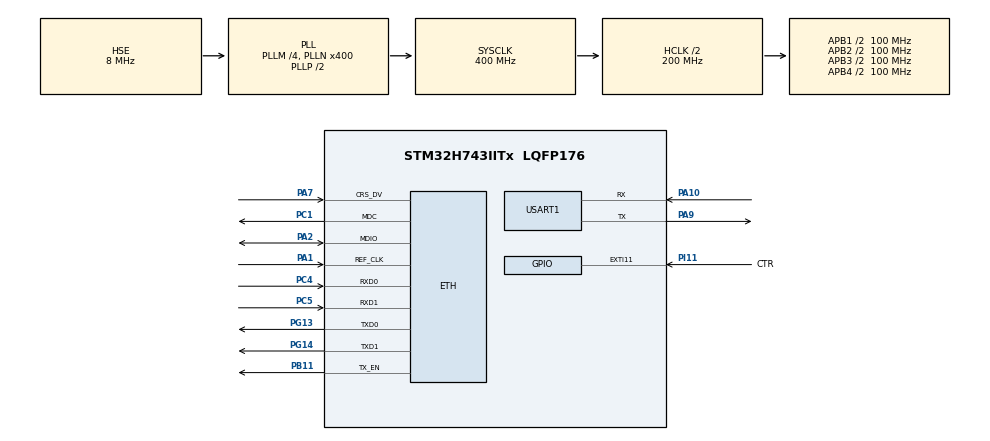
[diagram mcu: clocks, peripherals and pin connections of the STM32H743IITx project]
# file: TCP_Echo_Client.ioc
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CORTEX_M7.CPU_DCache=Enabled
CORTEX_M7.CPU_ICache=Enabled
ETH.MediaInterface=HAL_ETH_RMII_MODE
LWIP.BSP.number=1
LWIP.GATEWAY_ADDRESS=192.168.000.001
LWIP.IP_ADDRESS=192.168.000.010
LWIP.LWIP_DHCP=1
LWIP.LWIP_NETIF_LINK_CALLBACK=1
LWIP.LWIP_NETIF_STATUS_CALLBACK=1
LWIP.LWIP_STATS=0
LWIP.NETMASK_ADDRESS=255.255.255.000
LWIP.TCP_QUEUE_OOSEQ=0
LWIP.Version=v2.0.3_Cube
LWIP0.BSP.STBoard=false
LWIP0.BSP.api=BSP_COMPONENT_DRIVER
LWIP0.BSP.component=LAN8742
LWIP0.BSP.i2caddr=0
LWIP0.BSP.instance=LAN8742
LWIP0.BSP.name=Driver_PHY
LWIP0.BSP.solution=LAN8742
Mcu.Family=STM32H7
Mcu.Name=STM32H743IITx
Mcu.Package=LQFP176
Mcu.UserConstants=DEST_IP_ADDR0,192;DEST_IP_ADDR1,168;DEST_IP_ADDR2,1;DEST_IP_ADDR3,206;DEST_PORT,7
NVIC.ETH_IRQn=true\:0\:0\:false\:false\:true\:true
NVIC.EXTI15_10_IRQn=true\:0\:0\:false\:false\:true\:true
NVIC.PriorityGroup=NVIC_PRIORITYGROUP_4
PA1.GPIO_Speed=GPIO_SPEED_FREQ_VERY_HIGH
PA1.Mode=RMII
PA1.Signal=ETH_REF_CLK
PA10.Mode=Asynchronous
PA10.Signal=USART1_RX
PA13\ (JTMS/SWDIO).Mode=JTAG_5_pins
PA13\ (JTMS/SWDIO).Signal=SYS_JTMS-SWDIO
PA14\ (JTCK/SWCLK).Mode=JTAG_5_pins
PA14\ (JTCK/SWCLK).Signal=SYS_JTCK-SWCLK
PA15\ (JTDI).Mode=JTAG_5_pins
PA15\ (JTDI).Signal=SYS_JTDI
PA2.GPIO_Speed=GPIO_SPEED_FREQ_VERY_HIGH
PA2.Mode=RMII
PA2.Signal=ETH_MDIO
PA7.GPIO_Speed=GPIO_SPEED_FREQ_VERY_HIGH
PA7.Mode=RMII
PA7.Signal=ETH_CRS_DV
PA9.Mode=Asynchronous
PA9.Signal=USART1_TX
PB11.GPIO_Speed=GPIO_SPEED_FREQ_VERY_HIGH
PB11.Mode=RMII
PB11.Signal=ETH_TX_EN
PB3\ (JTDO/TRACESWO).Mode=JTAG_5_pins
PB3\ (JTDO/TRACESWO).Signal=SYS_JTDO-SWO
PB4\ (NJTRST).Mode=JTAG_5_pins
PB4\ (NJTRST).Signal=SYS_JTRST
PC1.Mode=RMII
PC1.Signal=ETH_MDC
PC4.GPIO_Speed=GPIO_SPEED_FREQ_VERY_HIGH
PC4.Mode=RMII
PC4.Signal=ETH_RXD0
PC5.GPIO_Speed=GPIO_SPEED_FREQ_VERY_HIGH
PC5.Mode=RMII
PC5.Signal=ETH_RXD1
PG13.GPIO_Speed=GPIO_SPEED_FREQ_VERY_HIGH
PG13.Mode=RMII
PG13.Signal=ETH_TXD0
PG14.GPIO_Speed=GPIO_SPEED_FREQ_VERY_HIGH
PG14.Mode=RMII
PG14.Signal=ETH_TXD1
PH0-OSC_IN\ (PH0).Mode=HSE-External-Oscillator
PH0-OSC_IN\ (PH0).Signal=RCC_OSC_IN
PH1-OSC_OUT\ (PH1).Mode=HSE-External-Oscillator
PH1-OSC_OUT\ (PH1).Signal=RCC_OSC_OUT
PI11.GPIO_Label=CTR
PI11.GPIO_ModeDefaultEXTI=GPIO_MODE_IT_FALLING
PI11.Signal=GPXTI11
ProjectManager.HeapSize=0x200
ProjectManager.StackSize=0x400
ProjectManager.TargetToolchain=MDK-ARM V5
RCC.ADCFreq_Value=16125000
RCC.APB1Freq_Value=100000000
RCC.APB2Freq_Value=100000000
RCC.APB3Freq_Value=100000000
RCC.APB4Freq_Value=100000000
RCC.CortexFreq_Value=400000000
RCC.D1PPRE=RCC_APB3_DIV2
RCC.D2PPRE1=RCC_APB1_DIV2
RCC.D2PPRE2=RCC_APB2_DIV2
RCC.D3PPRE=RCC_APB4_DIV2
RCC.DIVM1=4
RCC.DIVN1=400
RCC.HCLKFreq_Value=200000000
RCC.HPRE=RCC_HCLK_DIV2
RCC.HSE_VALUE=8000000
RCC.PLLSourceVirtual=RCC_PLLSOURCE_HSE
RCC.SYSCLKFreq_VALUE=400000000
RCC.SYSCLKSource=RCC_SYSCLKSOURCE_PLLCLK
RCC.USBFreq_Value=400000000
USART1.VirtualMode-Asynchronous=VM_ASYNC
VP_LWIP_VS_Enabled.Mode=Enabled
board=custom

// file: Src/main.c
/* USER CODE BEGIN Header */
/**
  ******************************************************************************
  * @file           : main.c
  * @brief          : Main program body
  ******************************************************************************
  * This notice applies to any and all portions of this file
  * that are not between comment pairs USER CODE BEGIN and
  * USER CODE END. Other portions of this file, whether
  * inserted by the user or by software development tools
  * are owned by their respective copyright owners.
  *
  * Copyright (c) 2019 STMicroelectronics International N.V.
  * All rights reserved.
  *
  * Redistribution and use in source and binary forms, with or without
  * modification, are permitted, provided that the following conditions are met:
  *
  * 1. Redistribution of source code must retain the above copyright notice,
  *    this list of conditions and the following disclaimer.
  * 2. Redistributions in binary form must reproduce the above copyright notice,
  *    this list of conditions and the following disclaimer in the documentation
  *    and/or other materials provided with the distribution.
  * 3. Neither the name of STMicroelectronics nor the names of other
  *    contributors to this software may be used to endorse or promote products
  *    derived from this software without specific written permission.
  * 4. This software, including modifications and/or derivative works of this
  *    software, must execute solely and exclusively on microcontroller or
  *    microprocessor devices manufactured by or for STMicroelectronics.
  * 5. Redistribution and use of this software other than as permitted under
  *    this license is void and will automatically terminate your rights under
  *    this license.
  *
  * THIS SOFTWARE IS PROVIDED BY STMICROELECTRONICS AND CONTRIBUTORS "AS IS"
  * AND ANY EXPRESS, IMPLIED OR STATUTORY WARRANTIES, INCLUDING, BUT NOT
  * LIMITED TO, THE IMPLIED WARRANTIES OF MERCHANTABILITY, FITNESS FOR A
  * PARTICULAR PURPOSE AND NON-INFRINGEMENT OF THIRD PARTY INTELLECTUAL PROPERTY
  * RIGHTS ARE DISCLAIMED TO THE FULLEST EXTENT PERMITTED BY LAW. IN NO EVENT
  * SHALL STMICROELECTRONICS OR CONTRIBUTORS BE LIABLE FOR ANY DIRECT, INDIRECT,
  * INCIDENTAL, SPECIAL, EXEMPLARY, OR CONSEQUENTIAL DAMAGES (INCLUDING, BUT NOT
  * LIMITED TO, PROCUREMENT OF SUBSTITUTE GOODS OR SERVICES; LOSS OF USE, DATA,
  * OR PROFITS; OR BUSINESS INTERRUPTION) HOWEVER CAUSED AND ON ANY THEORY OF
  * LIABILITY, WHETHER IN CONTRACT, STRICT LIABILITY, OR TORT (INCLUDING
  * NEGLIGENCE OR OTHERWISE) ARISING IN ANY WAY OUT OF THE USE OF THIS SOFTWARE,
  * EVEN IF ADVISED OF THE POSSIBILITY OF SUCH DAMAGE.
  *
  ******************************************************************************
  */
/* USER CODE END Header */

#include "main.h"
#include "lwip.h"
#include "usart.h"
#include "gpio.h"

/* USER CODE BEGIN Includes */
#include "tcp_echoserver.h"

/* USER CODE END Includes */

void SystemClock_Config(void);

/* USER CODE BEGIN 0 */

static void MPU_Config(void)
{
  MPU_Region_InitTypeDef MPU_InitStruct;

  /* Disable the MPU */
  HAL_MPU_Disable();

  /* Configure the MPU attributes as Device not cacheable
     for ETH DMA descriptors */
  MPU_InitStruct.Enable = MPU_REGION_ENABLE;
  MPU_InitStruct.BaseAddress = 0x30040000;
  MPU_InitStruct.Size = MPU_REGION_SIZE_256B;
  MPU_InitStruct.AccessPermission = MPU_REGION_FULL_ACCESS;
  MPU_InitStruct.IsBufferable = MPU_ACCESS_BUFFERABLE;
  MPU_InitStruct.IsCacheable = MPU_ACCESS_NOT_CACHEABLE;
  MPU_InitStruct.IsShareable = MPU_ACCESS_NOT_SHAREABLE;
  MPU_InitStruct.Number = MPU_REGION_NUMBER0;
  MPU_InitStruct.TypeExtField = MPU_TEX_LEVEL0;
  MPU_InitStruct.SubRegionDisable = 0x00;
  MPU_InitStruct.DisableExec = MPU_INSTRUCTION_ACCESS_ENABLE;

  HAL_MPU_ConfigRegion(&MPU_InitStruct);

  /* Configure the MPU attributes as Cacheable write through
     for LwIP RAM heap which contains the Tx buffers */
  MPU_InitStruct.Enable = MPU_REGION_ENABLE;
  MPU_InitStruct.BaseAddress = 0x30044000;
  MPU_InitStruct.Size = MPU_REGION_SIZE_16KB;
  MPU_InitStruct.AccessPermission = MPU_REGION_FULL_ACCESS;
  MPU_InitStruct.IsBufferable = MPU_ACCESS_NOT_BUFFERABLE;
  MPU_InitStruct.IsCacheable = MPU_ACCESS_CACHEABLE;
  MPU_InitStruct.IsShareable = MPU_ACCESS_NOT_SHAREABLE;
  MPU_InitStruct.Number = MPU_REGION_NUMBER1;
  MPU_InitStruct.TypeExtField = MPU_TEX_LEVEL0;
  MPU_InitStruct.SubRegionDisable = 0x00;
  MPU_InitStruct.DisableExec = MPU_INSTRUCTION_ACCESS_ENABLE;

  HAL_MPU_ConfigRegion(&MPU_InitStruct);

  /* Enable the MPU */
  HAL_MPU_Enable(MPU_PRIVILEGED_DEFAULT);
}
/* USER CODE END 0 */

int main(void)
{
  /* USER CODE BEGIN 1 */
	MPU_Config();

  /* USER CODE END 1 */

  /* Enable I-Cache---------------------------------------------------------*/
  SCB_EnableICache();

  /* Enable D-Cache---------------------------------------------------------*/
  SCB_EnableDCache();

  /* MCU Configuration--------------------------------------------------------*/

  /* Reset of all peripherals, Initializes the Flash interface and the Systick. */
  HAL_Init();

  /* Configure the system clock */
  SystemClock_Config();

  /* USER CODE BEGIN SysInit */
	__HAL_RCC_D2SRAM3_CLK_ENABLE();
  /* USER CODE END SysInit */

  /* Initialize all configured peripherals */
  MX_GPIO_Init();
  MX_USART1_UART_Init();
  MX_LWIP_Init();
  /* USER CODE BEGIN 2 */
	printf("ETH LwIP TCP_Server DHCP  \r\n");
  tcp_echoserver_init();

  /* USER CODE END 2 */

  /* Infinite loop */
  /* USER CODE BEGIN WHILE */

    uint32_t startTime = 0;
  uint32_t elapsedTime = 0;

  while (1)
  {

    /* USER CODE END WHILE */

    /* USER CODE BEGIN 3 */
		MX_LWIP_Process();

			elapsedTime = HAL_GetTick();

		if(1000 < (elapsedTime - startTime)) {

			extern struct netif gnetif;

			u32_t local_IP = gnetif.ip_addr.addr;

			printf("IP %d.%d.%d.%d\n\r",(local_IP & 0xff), ((local_IP >> 8) & 0xff), ((local_IP >> 16) & 0xff), (local_IP >> 24));

			startTime = elapsedTime;
		}

  }
  /* USER CODE END 3 */
}

void SystemClock_Config(void)
{
  RCC_OscInitTypeDef RCC_OscInitStruct = {0};
  RCC_ClkInitTypeDef RCC_ClkInitStruct = {0};
  RCC_PeriphCLKInitTypeDef PeriphClkInitStruct = {0};

  /**Supply configuration update enable
  */
  MODIFY_REG(PWR->CR3, PWR_CR3_SCUEN, 0);
  /**Configure the main internal regulator output voltage
  */
  __HAL_PWR_VOLTAGESCALING_CONFIG(PWR_REGULATOR_VOLTAGE_SCALE1);

  while ((PWR->D3CR & (PWR_D3CR_VOSRDY)) != PWR_D3CR_VOSRDY)
  {

  }
  /**Initializes the CPU, AHB and APB busses clocks
  */
  RCC_OscInitStruct.OscillatorType = RCC_OSCILLATORTYPE_HSE;
  RCC_OscInitStruct.HSEState = RCC_HSE_ON;
  RCC_OscInitStruct.PLL.PLLState = RCC_PLL_ON;
  RCC_OscInitStruct.PLL.PLLSource = RCC_PLLSOURCE_HSE;
  RCC_OscInitStruct.PLL.PLLM = 4;
  RCC_OscInitStruct.PLL.PLLN = 400;
  RCC_OscInitStruct.PLL.PLLP = 2;
  RCC_OscInitStruct.PLL.PLLQ = 2;
  RCC_OscInitStruct.PLL.PLLR = 2;
  RCC_OscInitStruct.PLL.PLLRGE = RCC_PLL1VCIRANGE_1;
  RCC_OscInitStruct.PLL.PLLVCOSEL = RCC_PLL1VCOWIDE;
  RCC_OscInitStruct.PLL.PLLFRACN = 0;
  if (HAL_RCC_OscConfig(&RCC_OscInitStruct) != HAL_OK)
  {
    Error_Handler();
  }
  /**Initializes the CPU, AHB and APB busses clocks
  */
  RCC_ClkInitStruct.ClockType = RCC_CLOCKTYPE_HCLK|RCC_CLOCKTYPE_SYSCLK
                              |RCC_CLOCKTYPE_PCLK1|RCC_CLOCKTYPE_PCLK2
                              |RCC_CLOCKTYPE_D3PCLK1|RCC_CLOCKTYPE_D1PCLK1;
  RCC_ClkInitStruct.SYSCLKSource = RCC_SYSCLKSOURCE_PLLCLK;
  RCC_ClkInitStruct.SYSCLKDivider = RCC_SYSCLK_DIV1;
  RCC_ClkInitStruct.AHBCLKDivider = RCC_HCLK_DIV2;
  RCC_ClkInitStruct.APB3CLKDivider = RCC_APB3_DIV2;
  RCC_ClkInitStruct.APB1CLKDivider = RCC_APB1_DIV2;
  RCC_ClkInitStruct.APB2CLKDivider = RCC_APB2_DIV2;
  RCC_ClkInitStruct.APB4CLKDivider = RCC_APB4_DIV2;

  if (HAL_RCC_ClockConfig(&RCC_ClkInitStruct, FLASH_LATENCY_2) != HAL_OK)
  {
    Error_Handler();
  }
  PeriphClkInitStruct.PeriphClockSelection = RCC_PERIPHCLK_USART1;
  PeriphClkInitStruct.Usart16ClockSelection = RCC_USART16CLKSOURCE_D2PCLK2;
  if (HAL_RCCEx_PeriphCLKConfig(&PeriphClkInitStruct) != HAL_OK)
  {
    Error_Handler();
  }
}

void Error_Handler(void)
{
  /* USER CODE BEGIN Error_Handler_Debug */
  /* User can add his own implementation to report the HAL error return state */
	printf("Error_Handler\r\n");
  /* USER CODE END Error_Handler_Debug */
}

/************************ (C) COPYRIGHT STMicroelectronics *****END OF FILE****/
